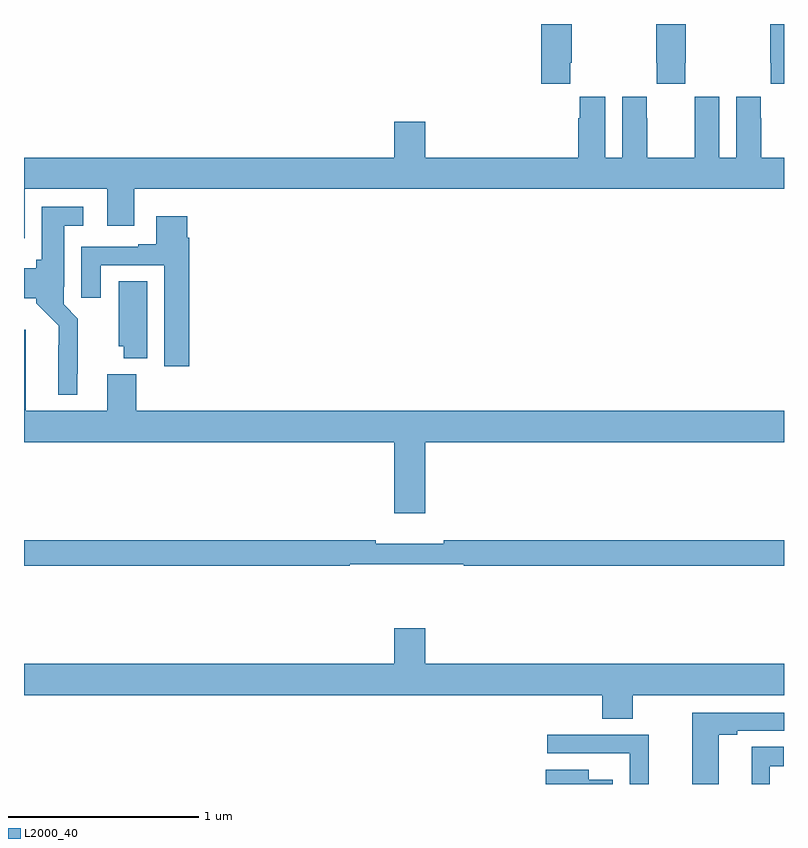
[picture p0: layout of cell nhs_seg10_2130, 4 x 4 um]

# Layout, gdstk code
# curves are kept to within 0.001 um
import gdstk
lib = gdstk.Library(unit=1e-6, precision=1e-09)
def P(c, l, *ps):  # polygons
    for p in ps: c.add(gdstk.Polygon(p, *l))
L2000_40 = (2000, 40)

nhs_seg10_2130 = lib.new_cell('nhs_seg10_2130')
P(nhs_seg10_2130, L2000_40, [(225.875,1318.297),(225.882,1318.297),(225.882,1318.5),(225.722,1318.5),(225.722,1318.185),(225.875,1318.185)],
  [(226.479,1318.297),(226.482,1318.297),(226.482,1318.5),(226.327,1318.5),(226.327,1318.297),(226.329,1318.297),(226.329,1318.185),(226.479,1318.185)],
  [(227,1318.5),(226.927,1318.5),(226.927,1318.297),(226.929,1318.297),(226.929,1318.185),(227,1318.185)],
  [(223.005,1317.632),(223.439,1317.632),(223.439,1317.438),(223.579,1317.438),(223.579,1317.632),(227,1317.632),(227,1317.796),(226.879,1317.796),(226.879,1318.004),(226.878,1318.004),(226.878,1318.117),(226.748,1318.117),(226.748,1317.796),(226.66,1317.796),(226.66,1318.117),(226.53,1318.117),(226.53,1318.004),(226.529,1318.004),(226.529,1317.796),(226.279,1317.796),(226.279,1318.004),(226.278,1318.004),(226.278,1318.117),(226.148,1318.117),(226.148,1317.796),(226.06,1317.796),(226.06,1318.117),(225.926,1318.117),(225.926,1318.004),(225.917,1318.004),(225.917,1317.796),(225.112,1317.796),(225.112,1317.985),(224.948,1317.985),(224.948,1317.796),(223,1317.796),(223,1317.372),(223.005,1317.372)],
  [(223.279,1316.659),(223.283,1316.659),(223.283,1316.95),(223.209,1317.024),(223.209,1317.118),(223.213,1317.118),(223.213,1317.437),(223.312,1317.437),(223.312,1317.538),(223.094,1317.538),(223.094,1317.258),(223.064,1317.258),(223.064,1317.214),(223,1317.214),(223,1317.056),(223.064,1317.056),(223.064,1317.03),(223.182,1316.912),(223.181,1316.549),(223.279,1316.549)],
  [(223.871,1317.374),(223.858,1317.374),(223.858,1317.487),(223.697,1317.487),(223.697,1317.34),(223.601,1317.34),(223.601,1317.327),(223.301,1317.327),(223.301,1317.06),(223.405,1317.06),(223.405,1317.231),(223.739,1317.231),(223.739,1316.7),(223.871,1316.7)],
  [(223.648,1317.146),(223.499,1317.146),(223.499,1316.805),(223.526,1316.805),(223.526,1316.741),(223.648,1316.741)],
  [(225.112,1316.3),(227,1316.3),(227,1316.464),(223.592,1316.464),(223.592,1316.656),(223.439,1316.656),(223.439,1316.464),(223.009,1316.464),(223.009,1316.89),(223,1316.89),(223,1316.3),(224.948,1316.3),(224.948,1315.926),(225.112,1315.926)],
  [(224.714,1315.656),(225.314,1315.656),(225.314,1315.648),(227,1315.648),(227,1315.784),(225.208,1315.784),(225.208,1315.765),(224.852,1315.765),(224.852,1315.784),(223,1315.784),(223,1315.648),(224.714,1315.648)],
  [(226.203,1314.968),(227,1314.968),(227,1315.132),(225.112,1315.132),(225.112,1315.321),(224.948,1315.321),(224.948,1315.132),(223,1315.132),(223,1314.968),(226.043,1314.968),(226.043,1314.844),(226.203,1314.844)],
  [(226.657,1314.76),(226.753,1314.76),(226.753,1314.78),(227,1314.78),(227,1314.876),(226.517,1314.876),(226.517,1314.5),(226.657,1314.5)],
  [(226.287,1314.759),(225.753,1314.759),(225.753,1314.663),(226.187,1314.663),(226.187,1314.662),(226.188,1314.662),(226.188,1314.5),(226.287,1314.5)],
  [(226.926,1314.594),(226.999,1314.594),(226.999,1314.695),(226.829,1314.695),(226.829,1314.5),(226.926,1314.5)],
  [(226.099,1314.523),(225.973,1314.523),(225.973,1314.574),(225.746,1314.574),(225.746,1314.5),(226.099,1314.5)])

lib.write_gds('nhs_seg10_2130.gds')
